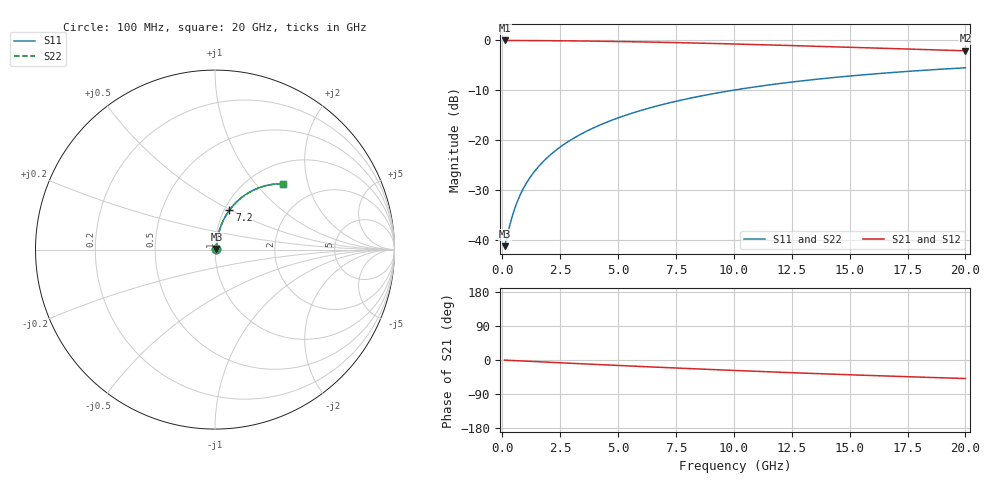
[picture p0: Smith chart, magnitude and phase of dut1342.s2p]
! Touchstone file exported from HFSS 2024.1.0
!  File:  C:/UserFiles/LocalFiles/RDL_TSV_Batchsim/temp_RDL_top_1342_1780365859.aedt
!  Generated:  10:07:03 AM Jun  2, 2026
!  Design:  RDL_top
!  Project:  temp_RDL_top_1342_1780365859
!  Setup:  Setup1
!  Solution:  Sweep
! Variables:
!  dtsv = 10.80580581um
!  hbump = 3um
!  htsv = 93.13um
!  ldown = 100um
!  lrdl = 650.11um
!  p = 40
!  p1 = 44.35um
!  rhole = 1um
!  t = 450um
!  tdown = 3.915915916um
!  trdl = 2.6um
!  wdown = 15.38538539um
!  wrdl = 11.31um
# GHz S MA R 50.000000
! Terminal data exported
! Port[1] = Box2_T1
! Port[2] = Box2_T2
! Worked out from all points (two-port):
!   200 points, 100 MHz to 20 GHz, reference 50 ohm
!   highest |S21| = -0.07 dB at 100 MHz (marker M1); lowest = -2.1 dB at 20 GHz (marker M2)
!   |S21| within 3 dB of the highest: start of sweep to end of sweep
!   lowest |S11| = -41.3 dB at 100 MHz (marker M3), VSWR 1.02, Z = 50.8 + j0.355 ohm
!   |S11| at or under -10 dB: start of sweep to 10.04 GHz
!   |S22| runs from -41.3 to -5.6 dB; largest |S21 - S12| = 2.6e-15
!   S11 on the Smith chart (normalised r, x): 100 MHz: 1.02, +0.01; 7.2 GHz: 1.06, +0.49; 20 GHz: 1.39, +1.41
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0.1  0.008585 24.0  0.9922 -0.3  0.9922 -0.3  0.008585 24.0
! Gamma 0 0 0 0
! Port Impedance 50 0 50 0
0.4  0.01618 59.1  0.9918 -1.2  0.9918 -1.2  0.01618 59.1
0.5  0.01929 63.7  0.9916 -1.5  0.9916 -1.5  0.01929 63.7
0.6  0.02247 66.9  0.9914 -1.8  0.9914 -1.8  0.02247 66.9
0.7  0.0257 69.2  0.9911 -2.1  0.9911 -2.1  0.0257 69.2
0.9  0.0322 72.3  0.9907 -2.7  0.9907 -2.7  0.0322 72.3
1.2  0.042 74.9  0.9898 -3.6  0.9898 -3.6  0.042 74.9
1.4  0.04855 75.9  0.9893 -4.1  0.9893 -4.1  0.04855 75.9
1.7  0.05839 76.8  0.9883 -5.0  0.9883 -5.0  0.05839 76.8
2.2  0.07483 77.5  0.9864 -6.4  0.9864 -6.4  0.07483 77.5
2.8  0.09455 77.4  0.9836 -8.2  0.9836 -8.2  0.09455 77.4
3.5  0.1175 76.7  0.9797 -10.2  0.9797 -10.2  0.1175 76.7
4.2  0.1402 75.7  0.975 -12.2  0.975 -12.2  0.1402 75.7
5  0.166 74.3  0.9689 -14.4  0.9689 -14.4  0.166 74.3
5.9  0.1944 72.6  0.9609 -16.9  0.9609 -16.9  0.1944 72.6
6.8  0.2223 70.7  0.952 -19.3  0.952 -19.3  0.2223 70.7
7.2  0.2345 69.9  0.9478 -20.4  0.9478 -20.4  0.2345 69.9
8.6  0.2759 66.8  0.9319 -24.0  0.9319 -24.0  0.2758 66.8
10.1  0.3179 63.6  0.9134 -27.8  0.9134 -27.8  0.3179 63.5
13.4  0.401 56.5  0.8696 -35.5  0.8696 -35.5  0.4009 56.5
16.7  0.4707 50.0  0.8247 -42.5  0.8247 -42.5  0.4706 50.0
20  0.5279 44.0  0.7815 -48.8  0.7815 -48.8  0.5277 44.0
